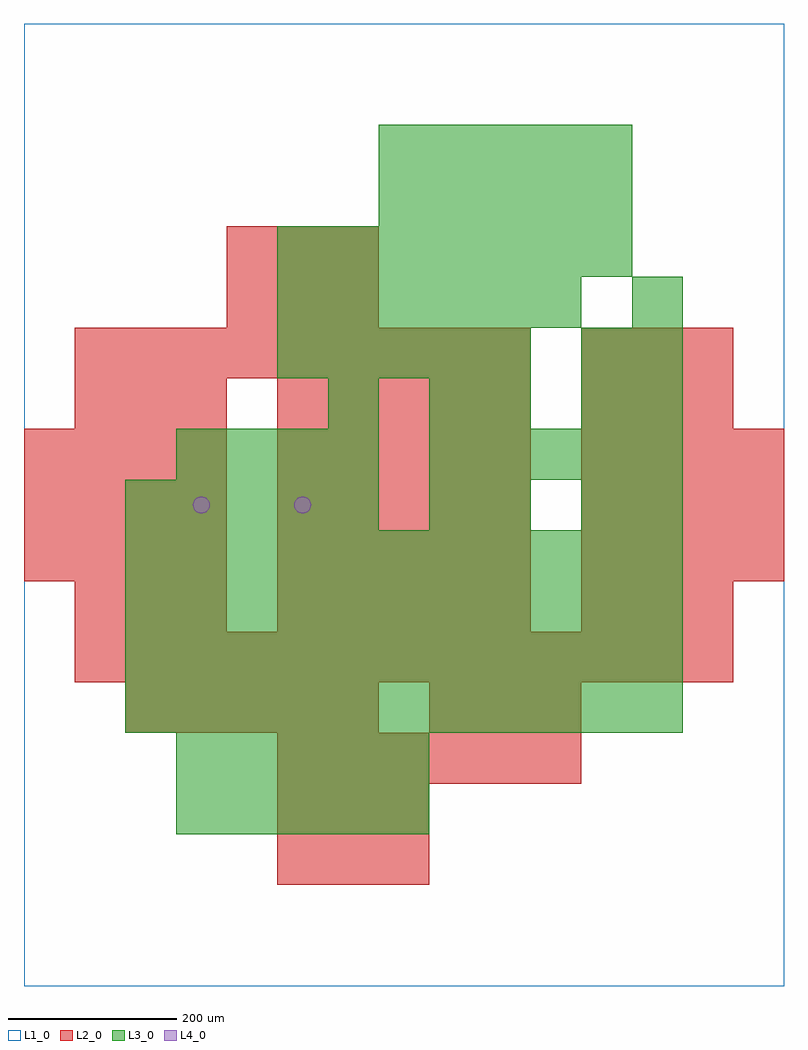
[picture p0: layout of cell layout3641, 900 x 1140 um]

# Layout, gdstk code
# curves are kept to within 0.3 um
import gdstk
lib = gdstk.Library(unit=1e-6, precision=1e-09)
def R(c, l, rs):  # rectangles x0, y0, x1, y1
    for r in rs: c.add(gdstk.rectangle(r[:2], r[2:], *l))
def A(c, l, x, y, w, h, nx, ny, dx, dy):  # array of equal rectangles
    R(c, l, [(x+i*dx, y+j*dy, x+i*dx+w, y+j*dy+h) for i in range(nx) for j in range(ny)])
def P(c, l, *ps):  # polygons
    for p in ps: c.add(gdstk.Polygon(p, *l))
L1_0 = (1, 0)
L2_0 = (2, 0)
L3_0 = (3, 0)
L4_0 = (4, 0)

layout3641 = lib.new_cell('layout3641')
R(layout3641, L1_0, [(0,0,900,1140)])
A(layout3641, L2_0, 300, 120, 60, 60, 3, 2, 60, 60)
A(layout3641, L2_0, 300, 240, 60, 60, 6, 1, 60, 0)
A(layout3641, L2_0, 120, 300, 60, 60, 5, 1, 60, 0)
A(layout3641, L2_0, 480, 300, 60, 60, 3, 1, 60, 0)
A(layout3641, L2_0, 60, 360, 60, 60, 13, 1, 60, 0)
A(layout3641, L2_0, 60, 420, 60, 60, 3, 2, 60, 240)
A(layout3641, L2_0, 300, 420, 60, 60, 5, 5, 60, 60)
A(layout3641, L2_0, 660, 420, 60, 60, 3, 2, 60, 240)
A(layout3641, L2_0, 0, 480, 60, 60, 4, 3, 60, 60)
A(layout3641, L2_0, 660, 480, 60, 60, 4, 3, 60, 60)
A(layout3641, L2_0, 60, 720, 60, 60, 9, 1, 60, 0)
A(layout3641, L2_0, 660, 720, 60, 60, 3, 1, 60, 0)
A(layout3641, L2_0, 240, 780, 60, 60, 3, 2, 60, 60)
A(layout3641, L3_0, 180, 180, 60, 60, 5, 2, 60, 60)
A(layout3641, L3_0, 120, 300, 60, 60, 11, 4, 60, 60)
A(layout3641, L3_0, 120, 540, 60, 60, 5, 1, 60, 0)
A(layout3641, L3_0, 180, 600, 60, 60, 4, 1, 60, 0)
A(layout3641, L3_0, 480, 600, 60, 60, 5, 1, 60, 0)
A(layout3641, L3_0, 720, 660, 60, 60, 1, 3, 0, 60)
A(layout3641, L3_0, 300, 720, 60, 60, 5, 1, 60, 0)
A(layout3641, L3_0, 300, 780, 60, 60, 6, 1, 60, 0)
A(layout3641, L3_0, 300, 840, 60, 60, 7, 1, 60, 0)
A(layout3641, L3_0, 420, 900, 60, 60, 5, 2, 60, 60)
R(layout3641, L3_0, [(480,540,540,600), (540,540,600,600), (660,540,720,600), (720,540,780,600), (360,660,420,720), (480,660,540,720), (540,660,600,720), (660,660,720,720), (660,720,720,780)])
P(layout3641, L4_0, [(220,570),(219.239,573.827),(217.071,577.071),(213.827,579.239),(210,580),(206.173,579.239),(202.929,577.071),(200.761,573.827),(200,570),(200.761,566.173),(202.929,562.929),(206.173,560.761),(210,560),(213.827,560.761),(217.071,562.929),(219.239,566.173)],
  [(340,570),(339.239,573.827),(337.071,577.071),(333.827,579.239),(330,580),(326.173,579.239),(322.929,577.071),(320.761,573.827),(320,570),(320.761,566.173),(322.929,562.929),(326.173,560.761),(330,560),(333.827,560.761),(337.071,562.929),(339.239,566.173)])

lib.write_gds('layout3641.gds')
